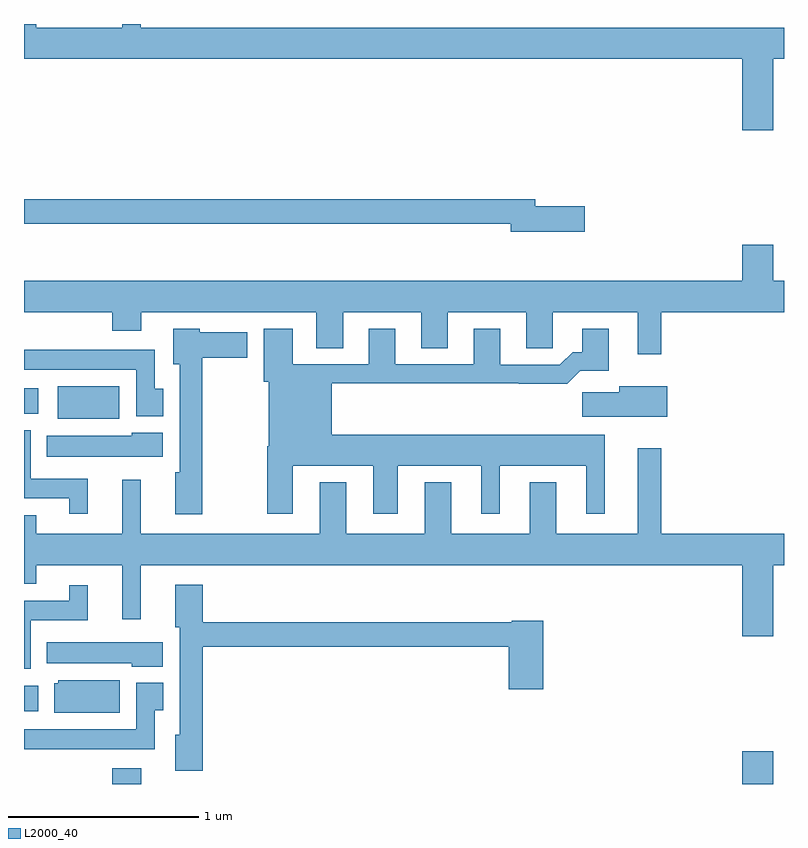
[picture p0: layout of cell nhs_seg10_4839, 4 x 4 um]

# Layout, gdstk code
import gdstk
lib = gdstk.Library(unit=1e-6, precision=1e-09)
def R(c, l, rs):  # rectangles x0, y0, x1, y1
    for r in rs: c.add(gdstk.rectangle(r[:2], r[2:], *l))
def P(c, l, *ps):  # polygons
    for p in ps: c.add(gdstk.Polygon(p, *l))
L2000_40 = (2000, 40)

nhs_seg10_4839 = lib.new_cell('nhs_seg10_4839')
R(nhs_seg10_4839, L2000_40, [(389.465,1296.5,389.617,1296.583), (392.78,1296.5,392.944,1296.673), (389,1296.884,389.074,1297.018), (389.177,1298.423,389.5,1298.593), (389,1298.45,389.074,1298.584)])
P(nhs_seg10_4839, L2000_40, [(389.615,1300.5),(389.516,1300.5),(389.516,1300.48),(389.065,1300.48),(389.065,1300.5),(389,1300.5),(389,1300.316),(392.78,1300.316),(392.78,1299.942),(392.944,1299.942),(392.944,1300.316),(393,1300.316),(393,1300.48),(389.615,1300.48)],
  [(391.951,1299.542),(391.69,1299.542),(391.69,1299.578),(389,1299.578),(389,1299.45),(391.562,1299.45),(391.562,1299.407),(391.951,1299.407)],
  [(389,1298.984),(389.465,1298.984),(389.465,1298.885),(389.617,1298.885),(389.617,1298.984),(390.539,1298.984),(390.539,1298.794),(390.679,1298.794),(390.679,1298.984),(391.091,1298.984),(391.091,1298.794),(391.231,1298.794),(391.231,1298.984),(391.643,1298.984),(391.643,1298.794),(391.782,1298.794),(391.782,1298.984),(392.231,1298.984),(392.231,1298.763),(392.353,1298.763),(392.353,1298.984),(393,1298.984),(393,1299.148),(392.944,1299.148),(392.944,1299.337),(392.78,1299.337),(392.78,1299.148),(389,1299.148)],
  [(389.937,1298.744),(390.175,1298.744),(390.175,1298.878),(389.925,1298.878),(389.925,1298.896),(389.786,1298.896),(389.786,1298.709),(389.819,1298.709),(389.819,1298.142),(389.795,1298.142),(389.795,1297.92),(389.937,1297.92)],
  [(390.415,1298.174),(390.839,1298.174),(390.839,1297.923),(390.967,1297.923),(390.967,1298.174),(391.406,1298.174),(391.406,1297.923),(391.504,1297.923),(391.504,1298.174),(391.958,1298.174),(391.958,1297.923),(392.056,1297.923),(392.056,1298.338),(390.619,1298.338),(390.619,1298.608),(391.603,1298.608),(391.603,1298.606),(391.859,1298.606),(391.928,1298.675),(392.077,1298.675),(392.077,1298.896),(391.937,1298.896),(391.937,1298.773),(391.888,1298.773),(391.821,1298.706),(391.507,1298.706),(391.507,1298.896),(391.367,1298.896),(391.367,1298.709),(390.955,1298.709),(390.955,1298.896),(390.815,1298.896),(390.815,1298.709),(390.415,1298.709),(390.415,1298.896),(390.263,1298.896),(390.263,1298.616),(390.287,1298.616),(390.287,1298.278),(390.28,1298.278),(390.28,1297.923),(390.415,1297.923)],
  [(389.734,1298.58),(389.689,1298.58),(389.689,1298.785),(389,1298.785),(389,1298.681),(389.592,1298.681),(389.592,1298.436),(389.734,1298.436)],
  [(392.386,1298.593),(392.132,1298.593),(392.132,1298.561),(391.938,1298.561),(391.938,1298.432),(392.386,1298.432)],
  [(389.336,1298.107),(389.035,1298.107),(389.035,1298.362),(389,1298.362),(389,1298.003),(389.237,1298.003),(389.237,1297.923),(389.336,1297.923)],
  [(389.731,1298.35),(389.568,1298.35),(389.568,1298.332),(389.12,1298.332),(389.12,1298.222),(389.731,1298.222)],
  [(392.944,1297.652),(393,1297.652),(393,1297.816),(392.353,1297.816),(392.353,1298.266),(392.231,1298.266),(392.231,1297.816),(391.801,1297.816),(391.801,1298.089),(391.661,1298.089),(391.661,1297.816),(391.249,1297.816),(391.249,1298.089),(391.109,1298.089),(391.109,1297.816),(390.697,1297.816),(390.697,1298.089),(390.557,1298.089),(390.557,1297.816),(389.615,1297.816),(389.615,1298.101),(389.516,1298.101),(389.516,1297.816),(389.065,1297.816),(389.065,1297.915),(389,1297.915),(389,1297.553),(389.065,1297.553),(389.065,1297.652),(389.516,1297.652),(389.516,1297.368),(389.615,1297.368),(389.615,1297.652),(392.78,1297.652),(392.78,1297.278),(392.944,1297.278)],
  [(389.942,1297.222),(391.55,1297.222),(391.55,1296.999),(391.733,1296.999),(391.733,1297.359),(391.566,1297.359),(391.566,1297.351),(389.942,1297.351),(389.942,1297.549),(389.795,1297.549),(389.795,1297.326),(389.819,1297.326),(389.819,1296.759),(389.795,1296.759),(389.795,1296.569),(389.942,1296.569)],
  [(389.035,1297.361),(389.336,1297.361),(389.336,1297.546),(389.237,1297.546),(389.237,1297.465),(389,1297.465),(389,1297.106),(389.035,1297.106)],
  [(389.731,1297.246),(389.12,1297.246),(389.12,1297.136),(389.568,1297.136),(389.568,1297.118),(389.731,1297.118)],
  [(389.503,1297.045),(389.181,1297.045),(389.181,1297.029),(389.159,1297.029),(389.159,1296.875),(389.503,1296.875)],
  [(389.689,1296.889),(389.734,1296.889),(389.734,1297.033),(389.592,1297.033),(389.592,1296.787),(389,1296.787),(389,1296.683),(389.689,1296.683)])

lib.write_gds('nhs_seg10_4839.gds')
